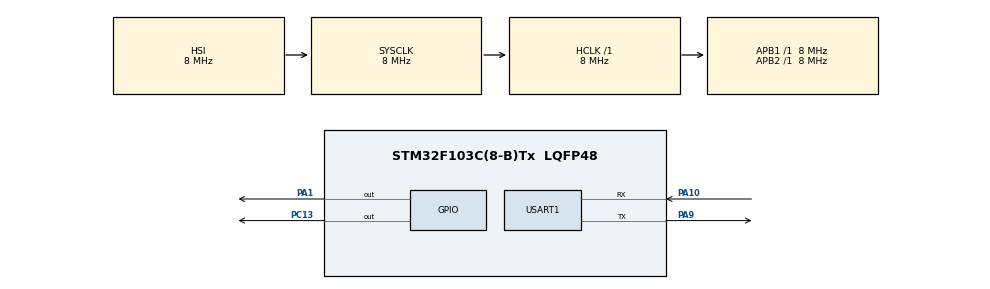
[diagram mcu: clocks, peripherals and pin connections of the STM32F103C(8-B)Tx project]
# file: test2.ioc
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Mcu.Family=STM32F1
Mcu.Name=STM32F103C(8-B)Tx
Mcu.Package=LQFP48
NVIC.PriorityGroup=NVIC_PRIORITYGROUP_4
NVIC.TIM2_IRQn=true\:0\:0\:false\:false\:true\:true\:true\:true
NVIC.USART1_IRQn=true\:0\:0\:false\:false\:true\:true\:true\:true
PA1.Signal=GPIO_Output
PA10.Mode=Asynchronous
PA10.Signal=USART1_RX
PA9.Mode=Asynchronous
PA9.Signal=USART1_TX
PC13-TAMPER-RTC.PinState=GPIO_PIN_RESET
PC13-TAMPER-RTC.Signal=GPIO_Output
ProjectManager.HeapSize=0x200
ProjectManager.StackSize=0x400
ProjectManager.TargetToolchain=MDK-ARM V5.32
RCC.AHBFreq_Value=8000000
RCC.APB1Freq_Value=8000000
RCC.APB1TimFreq_Value=8000000
RCC.APB2Freq_Value=8000000
RCC.APB2TimFreq_Value=8000000
RCC.HCLKFreq_Value=8000000
RCC.HSICalibrationValue=16
RCC.SYSCLKFreq_VALUE=8000000
RCC.USBFreq_Value=8000000
TIM2.Period=500
TIM2.Prescaler=71
USART1.VirtualMode=VM_ASYNC
VP_SYS_VS_ND.Mode=No_Debug
VP_TIM2_VS_ClockSourceINT.Mode=Internal
board=custom

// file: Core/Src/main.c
/* USER CODE BEGIN Header */
/**
  ******************************************************************************
  * @file           : main.c
  * @brief          : Main program body
  ******************************************************************************
  * @attention
  *
  * Copyright (c) 2026 STMicroelectronics.
  * All rights reserved.
  *
  * This software is licensed under terms that can be found in the LICENSE file
  * in the root directory of this software component.
  * If no LICENSE file comes with this software, it is provided AS-IS.
  *
  ******************************************************************************
  */
/* USER CODE END Header */
#include "main.h"

/* USER CODE BEGIN PD */
typedef struct
{
    uint8_t Temperature_Int;
		uint8_t Temperature_Dec;
    uint8_t Humidity_Int;
		uint8_t Humidity_Dec;
} DHT11_Data;
/* USER CODE END PD */

TIM_HandleTypeDef htim2;

UART_HandleTypeDef huart1;

/* USER CODE BEGIN PV */
uint8_t DHT11_Start(void);
void SendString(char *text);
void LedOn(void);
void LedOff(void);
void Delay_us(uint32_t us);
uint8_t DHT11_Read(DHT11_Data *data);

void DHT11_SetOutput(void);
void ProcessCommand(char *cmd);
void DHT11_SetInput(void);
/* USER CODE END PV */

void SystemClock_Config(void);
static void MX_GPIO_Init(void);
static void MX_TIM2_Init(void);
static void MX_USART1_UART_Init(void);

/* USER CODE BEGIN 0 */
uint8_t rxByte;
volatile DHT11_Data DHT11_Sensor;
char rxBuffer[64];
volatile uint8_t commandReady = 0;
char commandBuffer[32];
uint8_t rxIndex = 0;
/* USER CODE END 0 */

int main(void)
{

  /* MCU Configuration--------------------------------------------------------*/

  /* Reset of all peripherals, Initializes the Flash interface and the Systick. */
  HAL_Init();

  /* Configure the system clock */
  SystemClock_Config();

  /* Initialize all configured peripherals */
  MX_GPIO_Init();
  MX_TIM2_Init();
  MX_USART1_UART_Init();
  /* USER CODE BEGIN 2 */
	HAL_UART_Receive_IT(&huart1, &rxByte, 1);
	HAL_GPIO_WritePin(GPIOC,GPIO_PIN_13,GPIO_PIN_SET);
	HAL_TIM_Base_Start(&htim2);
  /* USER CODE END 2 */
  /* Infinite loop */
  while (1)
  {
    /* USER CODE BEGIN 3 */
		if(commandReady)
    {
        commandReady = 0;
        ProcessCommand(commandBuffer);
    }
		static uint32_t lastRead = 0;

    if (HAL_GetTick() - lastRead >= 1000)
    {
        lastRead = HAL_GetTick();

        DHT11_Read(&DHT11_Sensor);
    }
  }
  /* USER CODE END 3 */
}

void SystemClock_Config(void)
{
  RCC_OscInitTypeDef RCC_OscInitStruct = {0};
  RCC_ClkInitTypeDef RCC_ClkInitStruct = {0};

  /** Initializes the RCC Oscillators according to the specified parameters
  * in the RCC_OscInitTypeDef structure.
  */
  RCC_OscInitStruct.OscillatorType = RCC_OSCILLATORTYPE_HSI;
  RCC_OscInitStruct.HSIState = RCC_HSI_ON;
  RCC_OscInitStruct.HSICalibrationValue = RCC_HSICALIBRATION_DEFAULT;
  RCC_OscInitStruct.PLL.PLLState = RCC_PLL_NONE;
  if (HAL_RCC_OscConfig(&RCC_OscInitStruct) != HAL_OK)
  {
    Error_Handler();
  }

  /** Initializes the CPU, AHB and APB buses clocks
  */
  RCC_ClkInitStruct.ClockType = RCC_CLOCKTYPE_HCLK|RCC_CLOCKTYPE_SYSCLK
                              |RCC_CLOCKTYPE_PCLK1|RCC_CLOCKTYPE_PCLK2;
  RCC_ClkInitStruct.SYSCLKSource = RCC_SYSCLKSOURCE_HSI;
  RCC_ClkInitStruct.AHBCLKDivider = RCC_SYSCLK_DIV1;
  RCC_ClkInitStruct.APB1CLKDivider = RCC_HCLK_DIV1;
  RCC_ClkInitStruct.APB2CLKDivider = RCC_HCLK_DIV1;

  if (HAL_RCC_ClockConfig(&RCC_ClkInitStruct, FLASH_LATENCY_0) != HAL_OK)
  {
    Error_Handler();
  }
}

static void MX_TIM2_Init(void)
{

  TIM_ClockConfigTypeDef sClockSourceConfig = {0};
  TIM_MasterConfigTypeDef sMasterConfig = {0};

  htim2.Instance = TIM2;
  htim2.Init.Prescaler = 7;
  htim2.Init.CounterMode = TIM_COUNTERMODE_UP;
  htim2.Init.Period = 65535;
  htim2.Init.ClockDivision = TIM_CLOCKDIVISION_DIV1;
  htim2.Init.AutoReloadPreload = TIM_AUTORELOAD_PRELOAD_DISABLE;
  if (HAL_TIM_Base_Init(&htim2) != HAL_OK)
  {
    Error_Handler();
  }
  sClockSourceConfig.ClockSource = TIM_CLOCKSOURCE_INTERNAL;
  if (HAL_TIM_ConfigClockSource(&htim2, &sClockSourceConfig) != HAL_OK)
  {
    Error_Handler();
  }
  sMasterConfig.MasterOutputTrigger = TIM_TRGO_RESET;
  sMasterConfig.MasterSlaveMode = TIM_MASTERSLAVEMODE_DISABLE;
  if (HAL_TIMEx_MasterConfigSynchronization(&htim2, &sMasterConfig) != HAL_OK)
  {
    Error_Handler();
  }

}

static void MX_USART1_UART_Init(void)
{

  huart1.Instance = USART1;
  huart1.Init.BaudRate = 115200;
  huart1.Init.WordLength = UART_WORDLENGTH_8B;
  huart1.Init.StopBits = UART_STOPBITS_1;
  huart1.Init.Parity = UART_PARITY_NONE;
  huart1.Init.Mode = UART_MODE_TX_RX;
  huart1.Init.HwFlowCtl = UART_HWCONTROL_NONE;
  huart1.Init.OverSampling = UART_OVERSAMPLING_16;
  if (HAL_UART_Init(&huart1) != HAL_OK)
  {
    Error_Handler();
  }

}

static void MX_GPIO_Init(void)
{
  GPIO_InitTypeDef GPIO_InitStruct = {0};

  /* GPIO Ports Clock Enable */
  __HAL_RCC_GPIOC_CLK_ENABLE();
  __HAL_RCC_GPIOA_CLK_ENABLE();

  /*Configure GPIO pin Output Level */
  HAL_GPIO_WritePin(GPIOC, GPIO_PIN_13, GPIO_PIN_RESET);

  /*Configure GPIO pin Output Level */
  HAL_GPIO_WritePin(GPIOA, GPIO_PIN_1, GPIO_PIN_RESET);

  /*Configure GPIO pin : PC13 */
  GPIO_InitStruct.Pin = GPIO_PIN_13;
  GPIO_InitStruct.Mode = GPIO_MODE_OUTPUT_PP;
  GPIO_InitStruct.Pull = GPIO_NOPULL;
  GPIO_InitStruct.Speed = GPIO_SPEED_FREQ_LOW;
  HAL_GPIO_Init(GPIOC, &GPIO_InitStruct);

  /*Configure GPIO pin : PA1 */
  GPIO_InitStruct.Pin = GPIO_PIN_1;
  GPIO_InitStruct.Mode = GPIO_MODE_OUTPUT_PP;
  GPIO_InitStruct.Pull = GPIO_NOPULL;
  GPIO_InitStruct.Speed = GPIO_SPEED_FREQ_LOW;
  HAL_GPIO_Init(GPIOA, &GPIO_InitStruct);

}

/* USER CODE BEGIN 4 */
void DHT11_SetOutput(void)
{
		GPIO_InitTypeDef GPIO_InitStruct = {0};

    GPIO_InitStruct.Pin = GPIO_PIN_1;
    GPIO_InitStruct.Mode = GPIO_MODE_OUTPUT_OD;
    GPIO_InitStruct.Speed = GPIO_SPEED_FREQ_HIGH;

    HAL_GPIO_Init(GPIOA, &GPIO_InitStruct);
}
void DHT11_SetInput(void)
{
    GPIO_InitTypeDef GPIO_InitStruct = {0};

    GPIO_InitStruct.Pin = GPIO_PIN_1;
    GPIO_InitStruct.Mode = GPIO_MODE_INPUT;
    GPIO_InitStruct.Pull = GPIO_NOPULL;

    HAL_GPIO_Init(GPIOA, &GPIO_InitStruct);
}
uint8_t DHT11_Start(void)
{
    uint16_t timeout;

    DHT11_SetOutput();

    HAL_GPIO_WritePin(GPIOA, GPIO_PIN_1, GPIO_PIN_RESET);
    HAL_Delay(20);

    HAL_GPIO_WritePin(GPIOA, GPIO_PIN_1, GPIO_PIN_SET);
    Delay_us(30);

    DHT11_SetInput();

    timeout = 100;
    while (HAL_GPIO_ReadPin(GPIOA, GPIO_PIN_1) == GPIO_PIN_SET)
    {
        Delay_us(1);

        if (--timeout == 0)
        {
            return 0;
        }
    }

    timeout = 100;
    while (HAL_GPIO_ReadPin(GPIOA, GPIO_PIN_1) == GPIO_PIN_RESET)
    {
        Delay_us(1);

        if (--timeout == 0)
        {
            return 0;
        }
    }

    timeout = 100;
    while (HAL_GPIO_ReadPin(GPIOA, GPIO_PIN_1) == GPIO_PIN_SET)
    {
        Delay_us(1);

        if (--timeout == 0)
        {
            return 0;
        }
    }

    return 1;
}
void Delay_us(uint32_t us)
{
    while(us > 65000)
    {
        __HAL_TIM_SET_COUNTER(&htim2, 0);

        while(__HAL_TIM_GET_COUNTER(&htim2) < 65000);

        us -= 65000;
    }

    __HAL_TIM_SET_COUNTER(&htim2, 0);

    while(__HAL_TIM_GET_COUNTER(&htim2) < us);
}
uint8_t DHT11_ReadBit(void)
{
    while(HAL_GPIO_ReadPin(GPIOA, GPIO_PIN_1) == GPIO_PIN_RESET);

    __HAL_TIM_SET_COUNTER(&htim2, 0);

    while(HAL_GPIO_ReadPin(GPIOA, GPIO_PIN_1) == GPIO_PIN_SET);

    return (__HAL_TIM_GET_COUNTER(&htim2) > 40);
}
uint8_t DHT11_ReadByte(void)
{
    uint8_t value = 0;

    for(int i = 0; i < 8; i++)
    {
        value <<= 1;
        value |= DHT11_ReadBit();
    }

    return value;
}
uint8_t DHT11_Read(DHT11_Data *data)
{
    uint8_t humInt;
    uint8_t humDec;
    uint8_t tempInt;
    uint8_t tempDec;
    uint8_t checksum;

    if (!DHT11_Start())
        return 0;

    humInt   = DHT11_ReadByte();
    humDec   = DHT11_ReadByte();
    tempInt  = DHT11_ReadByte();
    tempDec  = DHT11_ReadByte();
    checksum = DHT11_ReadByte();

    if ((humInt + humDec + tempInt + tempDec) != checksum)
        return 0;

    data->Humidity_Int = humInt;
    data->Temperature_Int = tempInt;
		data->Humidity_Dec = humDec;
		data->Temperature_Dec = tempDec;

    return 1;
}
void SendString(char *text)
{
    HAL_UART_Transmit(&huart1,
                      (uint8_t*)text,
                      strlen(text),
                      HAL_MAX_DELAY);

}
void ProcessCommand(char *cmd)
{

    if(strcmp(cmd, "HELLO") == 0)
    {
        SendString("Hello PC!\r\n");
    }
    else if(strcmp(cmd, "LED ON") == 0)
    {
				LedOn();
        SendString("Led is on\r\n");
    }
    else if(strcmp(cmd, "LED OFF") == 0)
    {
				LedOff();
        SendString("Led is off\r\n");
    }
		else if(strcmp(cmd, "GET TEMP") == 0)
    {
				char buffer[64];

					sprintf(buffer,
									"Temp=%d.%d Hum=%d.%d\r\n",
									DHT11_Sensor.Temperature_Int,
									DHT11_Sensor.Temperature_Dec,
									DHT11_Sensor.Humidity_Int,
									DHT11_Sensor.Humidity_Dec);

					SendString(buffer);

    }
    else
    {
        SendString("Unknown command\r\n");
    }
}
void LedOn(void)
{
	HAL_GPIO_WritePin(GPIOC,GPIO_PIN_13,GPIO_PIN_RESET);
}
void LedOff(void)
{
	HAL_GPIO_WritePin(GPIOC,GPIO_PIN_13,GPIO_PIN_SET);
}

void HAL_UART_RxCpltCallback(UART_HandleTypeDef *huart)
{
    if (huart->Instance == USART1)
    {
        if (rxByte == '\r')
        {
            // ?????????? ?????? ???????? ???????
        }
        else if (rxByte == '\n')
        {
            rxBuffer[rxIndex] = '\0';

            strcpy(commandBuffer, rxBuffer);
						commandReady = 1;

            rxIndex = 0;
        }
        else
        {
            if (rxIndex < sizeof(rxBuffer) - 1)
            {
                rxBuffer[rxIndex++] = rxByte;
            }
        }

        HAL_UART_Receive_IT(&huart1, &rxByte, 1);
    }
}
/* USER CODE END 4 */

void Error_Handler(void)
{
  __disable_irq();
  while (1)
  {
  }
}
